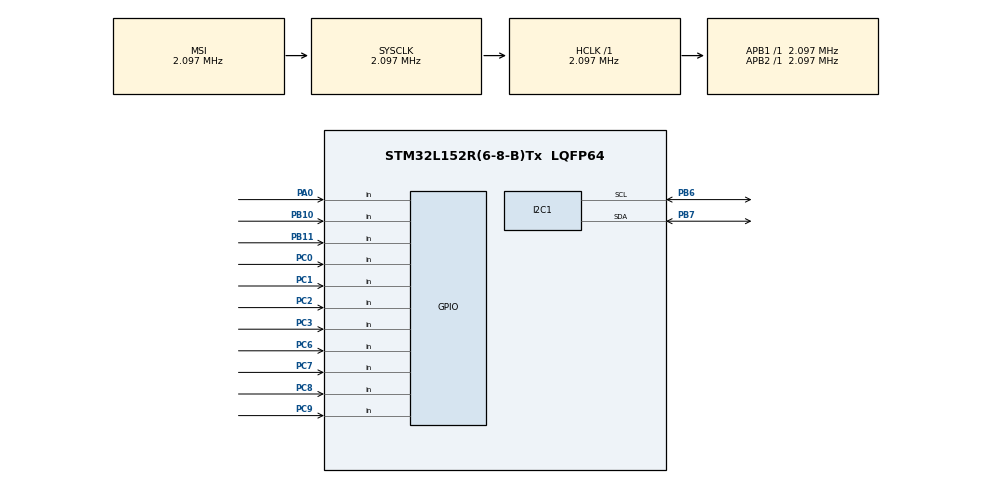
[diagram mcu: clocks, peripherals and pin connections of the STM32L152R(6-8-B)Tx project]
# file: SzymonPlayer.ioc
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I2C1.OwnAddress=0x37
Mcu.Family=STM32L1
Mcu.Name=STM32L152R(6-8-B)Tx
Mcu.Package=LQFP64
NVIC.PriorityGroup=NVIC_PRIORITYGROUP_4
PA0-WKUP1.GPIO_PuPd=GPIO_PULLDOWN
PA0-WKUP1.Signal=GPIO_Input
PB10.GPIO_PuPd=GPIO_PULLDOWN
PB10.Signal=GPIO_Input
PB11.GPIO_PuPd=GPIO_PULLDOWN
PB11.Signal=GPIO_Input
PB6.Mode=I2C
PB6.Signal=I2C1_SCL
PB7.Mode=I2C
PB7.Signal=I2C1_SDA
PC0.GPIO_PuPd=GPIO_PULLDOWN
PC0.Signal=GPIO_Input
PC1.GPIO_PuPd=GPIO_PULLDOWN
PC1.Signal=GPIO_Input
PC2.GPIO_PuPd=GPIO_PULLDOWN
PC2.Signal=GPIO_Input
PC3.GPIO_PuPd=GPIO_PULLDOWN
PC3.Signal=GPIO_Input
PC6.GPIO_PuPd=GPIO_PULLDOWN
PC6.Signal=GPIO_Input
PC7.GPIO_PuPd=GPIO_PULLDOWN
PC7.Signal=GPIO_Input
PC8.GPIO_PuPd=GPIO_PULLDOWN
PC8.Signal=GPIO_Input
PC9.GPIO_PuPd=GPIO_PULLDOWN
PC9.Signal=GPIO_Input
ProjectManager.HeapSize=0x200
ProjectManager.StackSize=0x400
ProjectManager.TargetToolchain=STM32CubeIDE
RCC.48MHZClocksFreq_Value=24000000
RCC.AHBFreq_Value=2097000
RCC.APB1Freq_Value=2097000
RCC.APB1TimFreq_Value=2097000
RCC.APB2Freq_Value=2097000
RCC.APB2TimFreq_Value=2097000
RCC.HCLKFreq_Value=2097000
RCC.HSE_VALUE=24000000
RCC.HSI_VALUE=16000000
RCC.LSE_VALUE=32768
RCC.MSI_VALUE=2097000
RCC.SYSCLKFreq_VALUE=2097000
RCC.VCOOutputFreq_Value=48000000
board=custom

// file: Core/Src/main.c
/* USER CODE BEGIN Header */
/* USER CODE END Header */
#include "main.h"

I2C_HandleTypeDef hi2c1;

/* USER CODE BEGIN PV */
uint8_t buf[12];
HAL_StatusTypeDef ret;
static const uint8_t TRIGGER_ADDR = 0x37 << 1;
/* USER CODE END PV */

void SystemClock_Config(void);
static void MX_GPIO_Init(void);
static void MX_I2C1_Init(void);

int main(void)
{

  /* MCU Configuration--------------------------------------------------------*/

  /* Reset of all peripherals, Initializes the Flash interface and the Systick. */
  HAL_Init();

  /* Configure the system clock */
  SystemClock_Config();

  /* Initialize all configured peripherals */
  MX_GPIO_Init();
  MX_I2C1_Init();

  /* Infinite loop */
  /* USER CODE BEGIN WHILE */

  while (1)
  {
      if(HAL_GPIO_ReadPin(GPIOA, GPIO_PIN_0)){
        buf[0] = 0x01; //play track
        buf[1] = 0x02; //T002.mp3
        ret = HAL_I2C_Master_Transmit(&hi2c1, TRIGGER_ADDR, buf, 2, 5000);
      }

      if(HAL_GPIO_ReadPin(GPIOC, GPIO_PIN_0)){
        buf[0] = 0x01; //play track
        buf[1] = 0x02; //T002.mp3
        ret = HAL_I2C_Master_Transmit(&hi2c1, TRIGGER_ADDR, buf, 2, 5000);
      }
      if(HAL_GPIO_ReadPin(GPIOC, GPIO_PIN_1)){
        buf[0] = 0x01; //play track
        buf[1] = 0x02; //T002.mp3
        ret = HAL_I2C_Master_Transmit(&hi2c1, TRIGGER_ADDR, buf, 2, 5000);
      }
      if(HAL_GPIO_ReadPin(GPIOC, GPIO_PIN_2)){
        buf[0] = 0x01; //play track
        buf[1] = 0x02; //T002.mp3
        ret = HAL_I2C_Master_Transmit(&hi2c1, TRIGGER_ADDR, buf, 2, 5000);
      }
      if(HAL_GPIO_ReadPin(GPIOC, GPIO_PIN_3)){
        buf[0] = 0x01; //play track
        buf[1] = 0x02; //T002.mp3
        ret = HAL_I2C_Master_Transmit(&hi2c1, TRIGGER_ADDR, buf, 2, 5000);
      }
      if(HAL_GPIO_ReadPin(GPIOC, GPIO_PIN_8)){
        buf[0] = 0x01; //play track
        buf[1] = 0x02; //T003.mp3
        ret = HAL_I2C_Master_Transmit(&hi2c1, TRIGGER_ADDR, buf, 2, 5000);
      }
      if(HAL_GPIO_ReadPin(GPIOC, GPIO_PIN_9)){
        buf[0] = 0x01; //play track
        buf[1] = 0x02; //T003.mp3
        ret = HAL_I2C_Master_Transmit(&hi2c1, TRIGGER_ADDR, buf, 2, 5000);
      }
      if(HAL_GPIO_ReadPin(GPIOB, GPIO_PIN_10)){
        buf[0] = 0x01; //play track
        buf[1] = 0x02; //T003.mp3
        ret = HAL_I2C_Master_Transmit(&hi2c1, TRIGGER_ADDR, buf, 2, 5000);
      }
      if(HAL_GPIO_ReadPin(GPIOB, GPIO_PIN_11)){
        buf[0] = 0x01; //play track
        buf[1] = 0x02; //T003.mp3
        ret = HAL_I2C_Master_Transmit(&hi2c1, TRIGGER_ADDR, buf, 2, 5000);
      }
      if(HAL_GPIO_ReadPin(GPIOC, GPIO_PIN_6)){
        buf[0] = 0x01; //play track
        buf[1] = 0x02; //T003.mp3
        ret = HAL_I2C_Master_Transmit(&hi2c1, TRIGGER_ADDR, buf, 2, 5000);
      }
      if(HAL_GPIO_ReadPin(GPIOC, GPIO_PIN_7)){
        buf[0] = 0x01; //play track
        buf[1] = 0x02; //T003.mp3
        ret = HAL_I2C_Master_Transmit(&hi2c1, TRIGGER_ADDR, buf, 2, 5000);
      }

   }
    /* USER CODE END WHILE */

}

void SystemClock_Config(void)
{
  RCC_OscInitTypeDef RCC_OscInitStruct = {0};
  RCC_ClkInitTypeDef RCC_ClkInitStruct = {0};

  /** Configure the main internal regulator output voltage
  */
  __HAL_PWR_VOLTAGESCALING_CONFIG(PWR_REGULATOR_VOLTAGE_SCALE1);
  /** Initializes the RCC Oscillators according to the specified parameters
  * in the RCC_OscInitTypeDef structure.
  */
  RCC_OscInitStruct.OscillatorType = RCC_OSCILLATORTYPE_MSI;
  RCC_OscInitStruct.MSIState = RCC_MSI_ON;
  RCC_OscInitStruct.MSICalibrationValue = 0;
  RCC_OscInitStruct.MSIClockRange = RCC_MSIRANGE_5;
  RCC_OscInitStruct.PLL.PLLState = RCC_PLL_NONE;
  if (HAL_RCC_OscConfig(&RCC_OscInitStruct) != HAL_OK)
  {
    Error_Handler();
  }
  /** Initializes the CPU, AHB and APB buses clocks
  */
  RCC_ClkInitStruct.ClockType = RCC_CLOCKTYPE_HCLK|RCC_CLOCKTYPE_SYSCLK
                              |RCC_CLOCKTYPE_PCLK1|RCC_CLOCKTYPE_PCLK2;
  RCC_ClkInitStruct.SYSCLKSource = RCC_SYSCLKSOURCE_MSI;
  RCC_ClkInitStruct.AHBCLKDivider = RCC_SYSCLK_DIV1;
  RCC_ClkInitStruct.APB1CLKDivider = RCC_HCLK_DIV1;
  RCC_ClkInitStruct.APB2CLKDivider = RCC_HCLK_DIV1;

  if (HAL_RCC_ClockConfig(&RCC_ClkInitStruct, FLASH_LATENCY_0) != HAL_OK)
  {
    Error_Handler();
  }
}

static void MX_I2C1_Init(void)
{

  hi2c1.Instance = I2C1;
  hi2c1.Init.ClockSpeed = 100000;
  hi2c1.Init.DutyCycle = I2C_DUTYCYCLE_2;
  hi2c1.Init.OwnAddress1 = 110;
  hi2c1.Init.AddressingMode = I2C_ADDRESSINGMODE_7BIT;
  hi2c1.Init.DualAddressMode = I2C_DUALADDRESS_DISABLE;
  hi2c1.Init.OwnAddress2 = 0;
  hi2c1.Init.GeneralCallMode = I2C_GENERALCALL_DISABLE;
  hi2c1.Init.NoStretchMode = I2C_NOSTRETCH_DISABLE;
  if (HAL_I2C_Init(&hi2c1) != HAL_OK)
  {
    Error_Handler();
  }

}

static void MX_GPIO_Init(void)
{
  GPIO_InitTypeDef GPIO_InitStruct = {0};

  /* GPIO Ports Clock Enable */
  __HAL_RCC_GPIOC_CLK_ENABLE();
  __HAL_RCC_GPIOA_CLK_ENABLE();
  __HAL_RCC_GPIOB_CLK_ENABLE();

  /*Configure GPIO pins : PC0 PC1 PC2 PC3
                           PC6 PC7 PC8 PC9 */
  GPIO_InitStruct.Pin = GPIO_PIN_0|GPIO_PIN_1|GPIO_PIN_2|GPIO_PIN_3
                          |GPIO_PIN_6|GPIO_PIN_7|GPIO_PIN_8|GPIO_PIN_9;
  GPIO_InitStruct.Mode = GPIO_MODE_INPUT;
  GPIO_InitStruct.Pull = GPIO_PULLDOWN;
  HAL_GPIO_Init(GPIOC, &GPIO_InitStruct);

  /*Configure GPIO pin : PA0 */
  GPIO_InitStruct.Pin = GPIO_PIN_0;
  GPIO_InitStruct.Mode = GPIO_MODE_INPUT;
  GPIO_InitStruct.Pull = GPIO_PULLDOWN;
  HAL_GPIO_Init(GPIOA, &GPIO_InitStruct);

  /*Configure GPIO pins : PB10 PB11 */
  GPIO_InitStruct.Pin = GPIO_PIN_10|GPIO_PIN_11;
  GPIO_InitStruct.Mode = GPIO_MODE_INPUT;
  GPIO_InitStruct.Pull = GPIO_PULLDOWN;
  HAL_GPIO_Init(GPIOB, &GPIO_InitStruct);

}

void Error_Handler(void)
{
}

/************************ (C) COPYRIGHT STMicroelectronics *****END OF FILE****/
